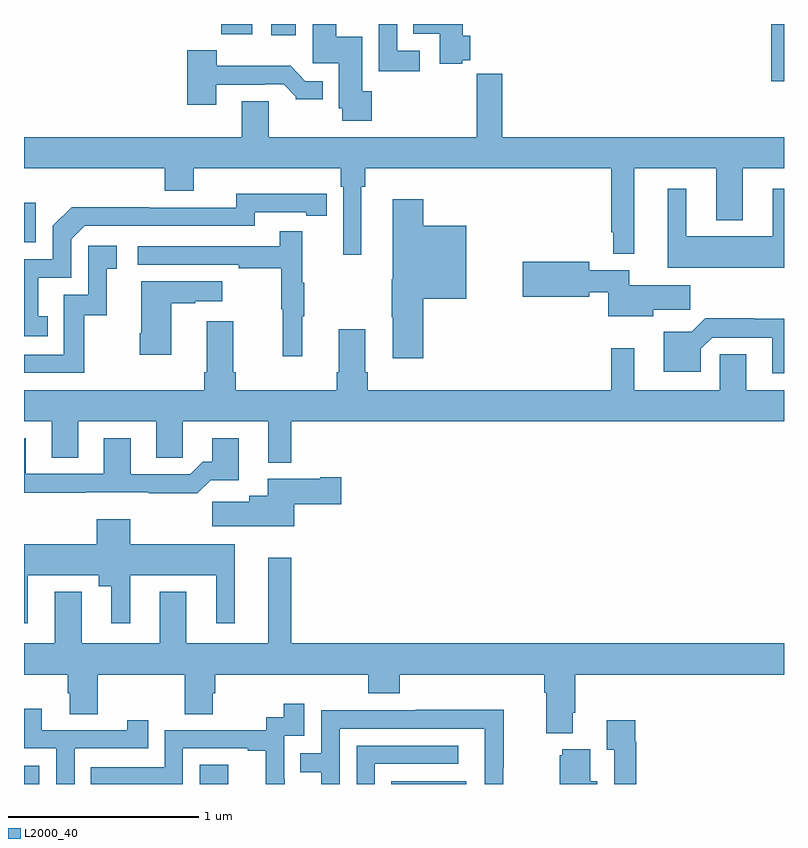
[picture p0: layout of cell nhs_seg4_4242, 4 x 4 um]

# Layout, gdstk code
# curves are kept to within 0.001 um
import gdstk
lib = gdstk.Library(unit=1e-6, precision=1e-09)
def R(c, l, rs):  # rectangles x0, y0, x1, y1
    for r in rs: c.add(gdstk.rectangle(r[:2], r[2:], *l))
def P(c, l, *ps):  # polygons
    for p in ps: c.add(gdstk.Polygon(p, *l))
L2000_40 = (2000, 40)

nhs_seg4_4242 = lib.new_cell('nhs_seg4_4242')
R(nhs_seg4_4242, L2000_40, [(337,806.9,337.08,806.997), (337.926,806.9,338.074,807.001), (338.932,806.9,339.328,806.914), (337,809.751,337.062,809.959), (340.934,810.598,341,810.9), (338.3,810.84,338.431,810.9), (338.038,810.845,338.2,810.9)])
P(nhs_seg4_4242, L2000_40, [(339.082,810.759),(338.964,810.759),(338.964,810.9),(338.868,810.9),(338.868,810.651),(339.082,810.651)],
  [(339.306,810.71),(339.349,810.71),(339.349,810.838),(339.31,810.838),(339.31,810.9),(339.049,810.9),(339.049,810.848),(339.188,810.848),(339.188,810.691),(339.306,810.691)],
  [(338.831,810.546),(338.779,810.546),(338.779,810.832),(338.644,810.832),(338.644,810.9),(338.519,810.9),(338.519,810.693),(338.657,810.693),(338.657,810.456),(338.674,810.456),(338.674,810.39),(338.831,810.39)],
  [(338.011,810.579),(338.267,810.579),(338.267,810.582),(338.366,810.582),(338.43,810.518),(338.43,810.503),(338.572,810.503),(338.572,810.6),(338.481,810.6),(338.403,810.679),(338.014,810.679),(338.014,810.763),(337.859,810.763),(337.859,810.474),(338.011,810.474)],
  [(338.776,810.044),(338.795,810.044),(338.795,810.14),(340.092,810.14),(340.092,809.803),(340.102,809.803),(340.102,809.691),(340.213,809.691),(340.213,810.14),(340.643,810.14),(340.643,809.867),(340.783,809.867),(340.783,810.14),(341,810.14),(341,810.304),(339.518,810.304),(339.518,810.637),(339.383,810.637),(339.383,810.524),(339.382,810.524),(339.382,810.304),(338.287,810.304),(338.287,810.494),(338.147,810.494),(338.147,810.304),(337,810.304),(337,810.14),(337.742,810.14),(337.742,810.023),(337.894,810.023),(337.894,810.14),(338.666,810.14),(338.666,810.044),(338.679,810.044),(338.679,809.685),(338.776,809.685)],
  [(341,810.034),(340.94,810.034),(340.94,809.782),(340.486,809.782),(340.486,810.034),(340.388,810.034),(340.388,809.618),(341,809.618)],
  [(337.124,809.361),(337.075,809.361),(337.075,809.565),(337.248,809.565),(337.248,809.766),(337.32,809.838),(338.214,809.838),(338.214,809.91),(338.486,809.91),(338.486,809.89),(338.594,809.89),(338.594,810.006),(338.118,810.007),(338.118,809.934),(337.658,809.934),(337.658,809.936),(337.25,809.936),(337.152,809.838),(337.152,809.661),(337,809.661),(337,809.256),(337.124,809.256)],
  [(339.101,809.453),(339.328,809.453),(339.328,809.839),(339.101,809.839),(339.101,809.977),(338.942,809.977),(338.942,809.557),(338.935,809.557),(338.935,809.357),(338.942,809.357),(338.942,809.142),(339.101,809.142)],
  [(338.465,809.363),(338.476,809.363),(338.476,809.537),(338.465,809.537),(338.465,809.809),(338.347,809.809),(338.347,809.73),(337.599,809.73),(337.599,809.634),(338.131,809.634),(338.131,809.614),(338.355,809.614),(338.355,809.4),(338.362,809.4),(338.362,809.151),(338.465,809.151)],
  [(337.318,809.367),(337.436,809.367),(337.436,809.613),(337.489,809.613),(337.489,809.734),(337.338,809.734),(337.338,809.475),(337.209,809.475),(337.209,809.16),(337,809.16),(337,809.064),(337.318,809.064)],
  [(340.312,809.395),(340.507,809.395),(340.507,809.524),(340.186,809.524),(340.186,809.604),(339.976,809.604),(339.976,809.648),(339.624,809.648),(339.624,809.465),(339.976,809.465),(339.976,809.488),(340.076,809.488),(340.076,809.363),(340.312,809.363)],
  [(337.774,809.431),(337.901,809.431),(337.901,809.441),(338.044,809.441),(338.044,809.545),(337.616,809.545),(337.616,809.272),(337.609,809.272),(337.609,809.16),(337.774,809.16)],
  [(341,809.348),(340.841,809.348),(340.841,809.351),(340.586,809.351),(340.515,809.28),(340.367,809.28),(340.367,809.069),(340.563,809.069),(340.563,809.19),(340.623,809.25),(340.937,809.25),(340.937,809.061),(341,809.061)],
  [(338.407,808.808),(341,808.808),(341,808.972),(340.801,808.972),(340.801,809.162),(340.662,809.162),(340.662,808.972),(340.213,808.972),(340.213,809.194),(340.092,809.194),(340.092,808.972),(338.81,808.972),(338.81,809.068),(338.797,809.068),(338.797,809.293),(338.657,809.293),(338.657,809.068),(338.645,809.068),(338.645,808.972),(338.114,808.972),(338.114,809.068),(338.101,809.068),(338.101,809.335),(337.961,809.335),(337.961,809.068),(337.949,809.068),(337.949,808.972),(337,808.972),(337,808.808),(337.145,808.808),(337.145,808.618),(337.285,808.618),(337.285,808.808),(337.697,808.808),(337.697,808.618),(337.836,808.618),(337.836,808.808),(338.285,808.808),(338.285,808.592),(338.407,808.592)],
  [(337.982,808.499),(338.131,808.499),(338.131,808.72),(337.991,808.72),(337.991,808.597),(337.942,808.597),(337.875,808.53),(337.561,808.53),(337.561,808.72),(337.421,808.72),(337.421,808.533),(337.009,808.533),(337.009,808.72),(337,808.72),(337,808.432),(337.325,808.432),(337.325,808.436),(337.657,808.436),(337.657,808.43),(337.913,808.43)],
  [(338.422,808.373),(338.671,808.373),(338.671,808.515),(338.558,808.515),(338.558,808.507),(338.282,808.507),(338.282,808.417),(338.186,808.417),(338.186,808.385),(337.992,808.385),(337.992,808.256),(338.422,808.256)],
  [(337.021,807.998),(337.394,807.998),(337.394,807.941),(337.46,807.941),(337.46,807.747),(337.558,807.747),(337.558,807.998),(338.012,807.998),(338.012,807.747),(338.11,807.747),(338.11,808.162),(337.56,808.162),(337.56,808.294),(337.382,808.294),(337.382,808.162),(337,808.162),(337,807.747),(337.021,807.747)],
  [(339.889,807.274),(339.902,807.274),(339.902,807.476),(341,807.476),(341,807.64),(338.407,807.64),(338.407,808.09),(338.285,808.09),(338.285,807.64),(337.855,807.64),(337.855,807.913),(337.715,807.913),(337.715,807.64),(337.303,807.64),(337.303,807.913),(337.163,807.913),(337.163,807.64),(337,807.64),(337,807.476),(337.229,807.476),(337.229,807.378),(337.241,807.378),(337.241,807.268),(337.389,807.268),(337.389,807.476),(337.846,807.476),(337.846,807.268),(337.993,807.268),(337.993,807.378),(338.006,807.378),(338.006,807.476),(338.813,807.476),(338.813,807.377),(338.978,807.377),(338.978,807.476),(339.737,807.476),(339.737,807.38),(339.749,807.38),(339.749,807.167),(339.889,807.167)],
  [(337.836,807.087),(338.177,807.087),(338.177,807.075),(338.273,807.075),(338.273,806.9),(338.372,806.9),(338.372,806.924),(338.37,806.924),(338.37,807.153),(338.475,807.153),(338.475,807.322),(338.367,807.322),(338.367,807.252),(338.274,807.252),(338.274,807.183),(337.74,807.183),(337.74,806.988),(337.351,806.988),(337.351,806.9),(337.836,806.9)],
  [(337.266,807.087),(337.655,807.087),(337.655,807.235),(337.544,807.235),(337.544,807.183),(337.093,807.183),(337.093,807.295),(337,807.295),(337,807.087),(337.17,807.087),(337.17,806.9),(337.266,806.9)],
  [(338.661,807.192),(339.425,807.192),(339.425,806.953),(339.426,806.953),(339.426,806.9),(339.522,806.9),(339.522,806.983),(339.525,806.983),(339.525,807.29),(339.061,807.29),(339.061,807.288),(338.565,807.288),(338.565,807.063),(338.455,807.063),(338.455,806.962),(338.565,806.962),(338.565,806.9),(338.661,806.9)],
  [(340.223,807.122),(340.216,807.122),(340.216,807.235),(340.067,807.235),(340.067,807.079),(340.107,807.079),(340.107,806.9),(340.223,806.9)],
  [(338.847,807.006),(339.286,807.006),(339.286,807.102),(338.751,807.102),(338.751,806.9),(338.847,806.9)],
  [(340.018,806.914),(339.979,806.914),(339.979,807.082),(339.833,807.082),(339.833,807.051),(339.821,807.051),(339.821,806.9),(340.018,806.9)])

lib.write_gds('nhs_seg4_4242.gds')
